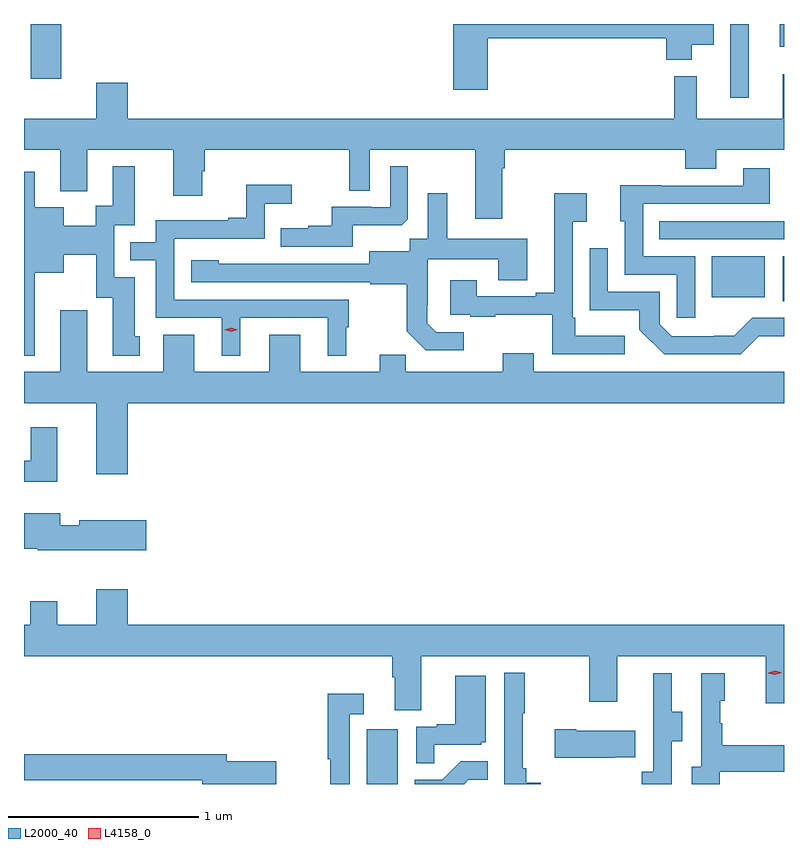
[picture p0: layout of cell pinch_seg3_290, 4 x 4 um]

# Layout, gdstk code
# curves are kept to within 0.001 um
import gdstk
lib = gdstk.Library(unit=1e-6, precision=1e-09)
def R(c, l, rs):  # rectangles x0, y0, x1, y1
    for r in rs: c.add(gdstk.rectangle(r[:2], r[2:], *l))
def P(c, l, *ps):  # polygons
    for p in ps: c.add(gdstk.Polygon(p, *l))
L2000_40 = (2000, 40)
L4158_0 = (4158, 0)

pinch_seg3_290 = lib.new_cell('pinch_seg3_290')
R(pinch_seg3_290, L2000_40, [(969.626,722.887,969.79,723.175), (971.816,725.429,971.823,725.665), (971.444,725.45,971.722,725.665), (971.167,725.754,971.823,725.85), (971.541,726.498,971.638,726.887), (967.859,726.6,968.02,726.887), (971.801,726.767,971.823,726.887)])
P(pinch_seg3_290, L2000_40, [(970.265,726.813),(971.204,726.813),(971.204,726.698),(971.338,726.698),(971.338,726.779),(971.452,726.779),(971.452,726.887),(970.082,726.887),(970.082,726.54),(970.265,726.54)],
  [(970.339,726.128),(970.352,726.128),(970.352,726.224),(971.303,726.224),(971.303,726.125),(971.467,726.125),(971.467,726.224),(971.823,726.224),(971.823,726.622),(971.816,726.622),(971.816,726.388),(971.363,726.388),(971.363,726.613),(971.245,726.613),(971.245,726.388),(968.368,726.388),(968.368,726.577),(968.204,726.577),(968.204,726.388),(967.823,726.388),(967.823,726.224),(968.015,726.224),(968.015,726.008),(968.155,726.008),(968.155,726.224),(968.609,726.224),(968.609,725.982),(968.761,725.982),(968.761,726.111),(968.774,726.111),(968.774,726.224),(969.534,726.224),(969.534,726.01),(969.642,726.01),(969.642,726.224),(970.199,726.224),(970.199,725.862),(970.339,725.862)],
  [(969.553,725.828),(969.811,725.828),(969.843,725.859),(969.843,726.139),(969.75,726.139),(969.75,725.922),(969.65,725.922),(969.65,725.925),(969.443,725.925),(969.443,725.824),(969.319,725.824),(969.319,725.812),(969.175,725.812),(969.175,725.715),(969.553,725.715)],
  [(967.879,725.579),(968.032,725.579),(968.032,725.672),(968.202,725.672),(968.202,725.445),(968.291,725.445),(968.291,725.142),(968.431,725.142),(968.431,725.244),(968.407,725.244),(968.407,725.553),(968.298,725.553),(968.298,725.829),(968.407,725.829),(968.407,726.139),(968.291,726.139),(968.291,725.93),(968.201,725.93),(968.201,725.824),(968.032,725.824),(968.032,725.923),(967.879,725.923),(967.879,726.109),(967.823,726.109),(967.823,725.141),(967.879,725.141)],
  [(971.355,725.664),(971.082,725.664),(971.082,725.94),(971.749,725.94),(971.749,726.127),(971.609,726.127),(971.609,726.036),(971.179,726.036),(971.179,726.038),(970.961,726.038),(970.961,725.85),(970.986,725.85),(970.986,725.568),(971.259,725.568),(971.259,725.34),(971.355,725.34)],
  [(968.962,725.34),(969.422,725.34),(969.422,725.141),(969.52,725.141),(969.52,725.292),(969.532,725.292),(969.532,725.436),(968.613,725.436),(968.613,725.757),(969.09,725.757),(969.09,725.942),(969.232,725.942),(969.232,726.041),(968.992,726.041),(968.992,725.866),(968.897,725.866),(968.897,725.853),(968.517,725.853),(968.517,725.739),(968.383,725.739),(968.383,725.643),(968.517,725.643),(968.517,725.34),(968.864,725.34),(968.864,725.141),(968.962,725.141)],
  [(970.984,725.245),(970.723,725.245),(970.723,725.341),(970.71,725.341),(970.71,725.846),(970.786,725.846),(970.786,725.995),(970.613,725.995),(970.613,725.473),(970.517,725.473),(970.517,725.454),(970.207,725.454),(970.207,725.539),(970.067,725.539),(970.067,725.358),(970.171,725.358),(970.171,725.346),(970.303,725.346),(970.303,725.357),(970.602,725.357),(970.602,725.148),(970.984,725.148)],
  [(970.138,725.265),(969.993,725.265),(969.946,725.312),(969.946,725.407),(969.948,725.407),(969.948,725.648),(970.319,725.648),(970.319,725.539),(970.471,725.539),(970.471,725.758),(970.051,725.758),(970.051,725.995),(969.947,725.995),(969.947,725.756),(969.852,725.756),(969.852,725.692),(969.641,725.692),(969.641,725.625),(968.847,725.626),(968.847,725.644),(968.703,725.644),(968.703,725.529),(969.645,725.529),(969.645,725.517),(969.837,725.517),(969.837,725.271),(969.937,725.171),(970.138,725.171)],
  [(971.69,725.243),(971.823,725.243),(971.823,725.34),(971.655,725.34),(971.561,725.246),(971.456,725.246),(971.456,725.244),(971.232,725.244),(971.169,725.307),(971.169,725.478),(970.896,725.478),(970.896,725.707),(970.8,725.707),(970.8,725.381),(971.062,725.381),(971.062,725.279),(971.192,725.148),(971.595,725.148)],
  [(968.368,724.892),(971.823,724.892),(971.823,725.056),(970.507,725.056),(970.507,725.155),(970.343,725.155),(970.343,725.056),(969.833,725.056),(969.833,725.147),(969.695,725.147),(969.695,725.056),(969.277,725.056),(969.277,725.251),(969.113,725.251),(969.113,725.056),(968.719,725.056),(968.719,725.251),(968.555,725.251),(968.555,725.056),(968.155,725.056),(968.155,725.38),(968.015,725.38),(968.015,725.056),(967.823,725.056),(967.823,724.892),(968.204,724.892),(968.204,724.518),(968.368,724.518)],
  [(967.999,724.765),(967.859,724.765),(967.859,724.588),(967.823,724.588),(967.823,724.478),(967.999,724.478)],
  [(968.467,724.276),(968.114,724.276),(968.114,724.248),(968.014,724.248),(968.014,724.312),(967.823,724.312),(967.823,724.124),(967.896,724.124),(967.896,724.118),(968.467,724.118)],
  [(969.913,723.56),(970.798,723.56),(970.798,723.321),(970.945,723.321),(970.945,723.56),(971.726,723.56),(971.726,723.312),(971.823,723.312),(971.823,723.724),(968.368,723.724),(968.368,723.913),(968.204,723.913),(968.204,723.724),(967.999,723.724),(967.999,723.848),(967.855,723.848),(967.855,723.724),(967.823,723.724),(967.823,723.56),(969.761,723.56),(969.761,723.448),(969.773,723.448),(969.773,723.274),(969.913,723.274)],
  [(970.543,722.894),(970.466,722.894),(970.466,722.971),(970.447,722.971),(970.447,723.259),(970.459,723.259),(970.459,723.472),(970.35,723.472),(970.35,722.887),(970.543,722.887)],
  [(971.484,722.951),(971.823,722.951),(971.823,723.091),(971.497,723.091),(971.497,723.206),(971.487,723.206),(971.487,723.324),(971.512,723.324),(971.512,723.469),(971.388,723.469),(971.388,722.978),(971.337,722.978),(971.337,722.887),(971.484,722.887)],
  [(971.232,723.112),(971.287,723.112),(971.287,723.267),(971.233,723.267),(971.233,723.469),(971.135,723.469),(971.135,723.255),(971.136,723.255),(971.136,722.951),(971.073,722.951),(971.073,722.887),(971.232,722.887)],
  [(969.983,723.093),(970.23,723.093),(970.23,723.108),(970.252,723.108),(970.252,723.457),(970.094,723.457),(970.094,723.202),(969.995,723.202),(969.995,723.189),(969.888,723.189),(969.888,722.995),(969.983,722.995)],
  [(969.537,723.255),(969.61,723.255),(969.61,723.361),(969.421,723.361),(969.421,723.018),(969.436,723.018),(969.436,722.887),(969.537,722.887)],
  [(970.931,723.029),(971.039,723.029),(971.039,723.166),(970.729,723.166),(970.729,723.174),(970.617,723.174),(970.617,723.026),(970.931,723.026)],
  [(969.151,723.008),(968.89,723.008),(968.89,723.044),(967.823,723.044),(967.823,722.908),(968.762,722.908),(968.762,722.887),(969.151,722.887)],
  [(970.161,722.909),(970.265,722.909),(970.265,723.008),(970.121,723.008),(970.023,722.91),(969.879,722.91),(969.879,722.887),(970.139,722.887)])
P(pinch_seg3_290, L4158_0, [(968.913,725.268),(968.878,725.277),(968.878,725.277),(968.878,725.277),(968.913,725.288),(968.948,725.279),(968.949,725.278),(968.948,725.278)],
  [(971.776,723.462),(971.74,723.471),(971.74,723.472),(971.74,723.472),(971.776,723.482),(971.812,723.473),(971.812,723.473),(971.812,723.473)])

lib.write_gds('pinch_seg3_290.gds')
